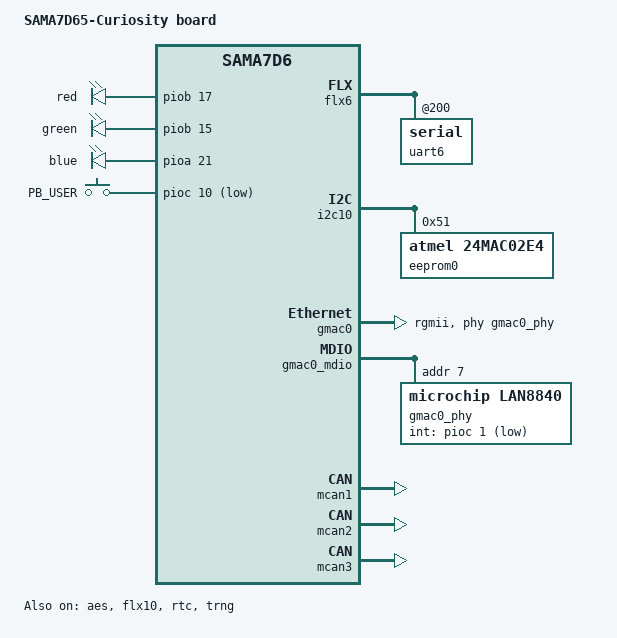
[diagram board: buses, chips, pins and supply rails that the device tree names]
/*
 * Copyright (C) 2025 Microchip Technology Inc. and its subsidiaries
 *
 * SPDX-License-Identifier: Apache-2.0
 *
 */

/dts-v1/;
#include <common/freq.h>
#include "mchp_sodimm_connector.dtsi"
#include <zephyr/dt-bindings/gpio/gpio.h>
#include <zephyr/dt-bindings/input/input-event-codes.h>
#include <zephyr/dt-bindings/mfd/mfd_mchp_sam_flexcom.h>
#include <dt-bindings/sam/sama7d6/sama7d65/sama7d65-pinctrl.h>
#include <microchip/sam/sama7/sama7d6/sama7d65.dtsi>

/ {
	model = "SAMA7D65-Curiosity board";
	compatible = "microchip,sama7d65curiosity", "microchip,sama7d6", "microchip,sama7";

	aliases {
		eeprom-0 = &eeprom0;
		led0 = &led_blue;
		sw0 = &button_user;
	};

	chosen {
		zephyr,sram = &ddram;
		zephyr,canbus = &mcan1;
		zephyr,console = &uart6;
		zephyr,shell-uart = &uart6;
	};

	clocks {
		main_xtal {
			clock-frequency = <DT_FREQ_M(24)>;
		};

		slow_xtal {
			clock-frequency = <32768>;
		};
	};

	ddram: ddram@60000000 {
		compatible = "ddram";
		reg = <0x60000000 DT_SIZE_M(1024)>;
	};

	leds {
		compatible = "gpio-leds";
		status = "okay";

		led_red: red {
			label = "red";
			gpios = <&piob 17 GPIO_ACTIVE_HIGH>;
		};

		led_green: green {
			label = "green";
			gpios = <&piob 15 GPIO_ACTIVE_HIGH>;
		};

		led_blue: blue {
			label = "blue";
			gpios = <&pioa 21 GPIO_ACTIVE_HIGH>;
		};
	};

	gpio_keys {
		compatible = "gpio-keys";
		status = "okay";

		button_user: button_sw2 {
			label = "PB_USER";
			gpios = <&pioc 10 GPIO_ACTIVE_LOW>;
			zephyr,code = <INPUT_KEY_0>;
		};
	};
};

&aes {
	status = "okay";
};

&flx6 {
	mchp,flexcom-mode = <SAM_FLEXCOM_MODE_USART>;
	status = "okay";

	uart6: serial@200 {
		current-speed = <115200>;
		pinctrl-0 = <&pinctrl_uart6_default>;
		pinctrl-names = "default";
		status = "okay";
	};
};

&flx10 {
	mchp,flexcom-mode = <SAM_FLEXCOM_MODE_TWI>;
	status = "okay";

	i2c10: i2c10@600 {
		pinctrl-0 = <&pinctrl_i2c10_default>;
		pinctrl-names = "default";
		status = "okay";

		eeprom0: eeprom0@51 {
			compatible = "atmel,24mac02e4", "atmel,at24";
			reg = <0x51>;
			address-width = <8>;
			pagesize = <16>;
			size = <256>;
			timeout = <5>;
			status = "okay";

			nvmem-layout {
				compatible = "fixed-layout";
				#address-cells = <1>;
				#size-cells = <1>;

				eeprom0_eui48: eui48@fa {
					reg = <0xfa 6>;
					#nvmem-cell-cells = <0>;
				};
			};
		};
	};
};

&gmac0 {
	status = "okay";

	pinctrl-0 = <&pinctrl_gmac0_default>;
	pinctrl-names = "default";

	phy-connection-type = "rgmii";
	phy-handle = <&gmac0_phy>;

	nvmem-cells = <&eeprom0_eui48>;
	nvmem-cell-names = "mac_address";
};

&gmac0_mdio {
	status = "okay";

	pinctrl-0 = <&pinctrl_gmac0_mdio_default>;
	pinctrl-names = "default";

	gmac0_phy: ethernet-phy@7 {
		compatible = "microchip,lan8840";
		int-gpios = <&pioc 1 GPIO_ACTIVE_LOW>;
		microchip,rgmii-delay = "id";
		reg = <7>;
		status = "okay";
	};
};

&gmac1_mdio {
	pinctrl-0 = <&pinctrl_gmac1_mdio_default>;
	pinctrl-names = "default";
};

&mcan1 {
	status = "okay";
	pinctrl-0 = <&pinctrl_can1_default>;
	pinctrl-names = "default";
};

&mcan2 {
	status = "okay";
	pinctrl-0 = <&pinctrl_can2_default>;
	pinctrl-names = "default";
};

&mcan3 {
	status = "okay";
	pinctrl-0 = <&pinctrl_can3_default>;
	pinctrl-names = "default";
};

&pinctrl {
	pinctrl_can1_default: can1_default {
		group1 {
			pinmux = <PIN_PD10__CANTX1>,
				 <PIN_PD11__CANRX1>;
			bias-disable;
		};
	};

	pinctrl_can2_default: can2_default {
		group1 {
			pinmux = <PIN_PD12__CANTX2>,
				 <PIN_PD13__CANRX2>;
			bias-disable;
		};
	};

	pinctrl_can3_default: can3_default {
		group1 {
			pinmux = <PIN_PD14__CANTX3>,
				 <PIN_PD15__CANRX3>;
			bias-disable;
		};
	};

	pinctrl_gmac0_default: gmac0_default {
		group1 {
			pinmux = <PIN_PA26__G0_TX0>,
				 <PIN_PA27__G0_TX1>,
				 <PIN_PB4__G0_TX2>,
				 <PIN_PB5__G0_TX3>,
				 <PIN_PA29__G0_RX0>,
				 <PIN_PA30__G0_RX1>,
				 <PIN_PB2__G0_RX2>,
				 <PIN_PB6__G0_RX3>,
				 <PIN_PA25__G0_TXCTL>,
				 <PIN_PB3__G0_RXCK>,
				 <PIN_PA28__G0_RXCTL>;
			bias-disable;
		};

		gmac0_txck_default {
			pinmux = <PIN_PB1__G0_REFCK>;
			bias-pull-up;
		};
	};

	pinctrl_gmac0_mdio_default: gmac0_mdio_default {
		group1 {
			pinmux = <PIN_PA31__G0_MDC>,
				 <PIN_PB0__G0_MDIO>;
		};
	};

	pinctrl_gmac1_mdio_default: gmac1_mdio_default {
		group1 {
			pinmux = <PIN_PD25__G1_MDC>,
				 <PIN_PD26__G1_MDIO>;
		};
	};

	pinctrl_i2c10_default: i2c10-default {
		group1 {
			pinmux = <PIN_PB19__FLEXCOM10_IO1>,
				 <PIN_PB20__FLEXCOM10_IO0>;
			bias-disable;
		};
	};

	pinctrl_uart6_default: uart6-default {
		group1 {
			pinmux = <PIN_PD18__FLEXCOM6_IO0>,
				 <PIN_PD19__FLEXCOM6_IO1>;
			bias-disable;
		};
	};

	mchp_sodimm_pinctrl_rgmii_default: mchp_sodimm_pinctrl_rgmii_default {
		group1 {
			pinmux = <PIN_PD22__G1_TX0>,
				 <PIN_PD23__G1_TX1>,
				 <PIN_PE0__G1_TX2>,
				 <PIN_PE1__G1_TX3>,
				 <PIN_PD27__G1_RX0>,
				 <PIN_PD28__G1_RX1>,
				 <PIN_PD30__G1_RX2>,
				 <PIN_PD31__G1_RX3>,
				 <PIN_PD21__G1_TXCTL>,
				 <PIN_PE2__G1_RXCK>,
				 <PIN_PD24__G1_RXCTL>;
			bias-disable;
		};

		gmac_txck_default {
			pinmux = <PIN_PD29__G1_REFCK>;
			bias-pull-up;
		};
	};

	mchp_sodimm_pinctrl_rmii_default: mchp_sodimm_pinctrl_rmii_default {
		group1 {
			pinmux = <PIN_PD22__G1_TX0>,
				 <PIN_PD23__G1_TX1>,
				 <PIN_PD27__G1_RX0>,
				 <PIN_PD28__G1_RX1>,
				 <PIN_PD21__G1_TXCTL>,
				 <PIN_PE2__G1_RXCK>,
				 <PIN_PD24__G1_RXCTL>;
			bias-disable;
		};
	};
};

&pit64b0 {
	clock-frequency = <DT_FREQ_M(10)>;
};

&rtc {
	status = "okay";
};

&trng {
	status = "okay";
};

mchp_sodimm_gmac: &gmac1 {};

mchp_sodimm_gmac_mdio: &gmac1_mdio {};

mchp_sodimm_i2c: &i2c10 {};
